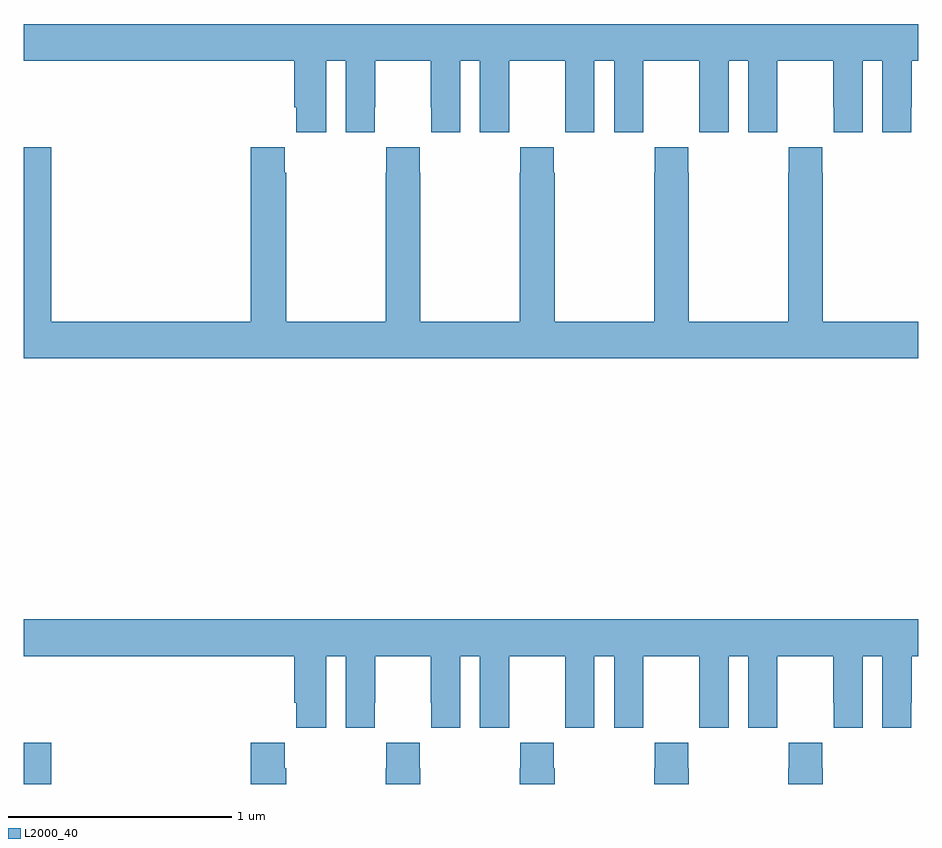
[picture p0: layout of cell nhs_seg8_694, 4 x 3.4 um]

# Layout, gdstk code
import gdstk
lib = gdstk.Library(unit=1e-6, precision=1e-09)
def R(c, l, rs):  # rectangles x0, y0, x1, y1
    for r in rs: c.add(gdstk.rectangle(r[:2], r[2:], *l))
def P(c, l, *ps):  # polygons
    for p in ps: c.add(gdstk.Polygon(p, *l))
L2000_40 = (2000, 40)

nhs_seg8_694 = lib.new_cell('nhs_seg8_694')
R(nhs_seg8_694, L2000_40, [(155,1143.9,155.123,1144.084)])
P(nhs_seg8_694, L2000_40, [(156.352,1147.136),(156.44,1147.136),(156.44,1146.816),(156.57,1146.816),(156.57,1146.928),(156.571,1146.928),(156.571,1147.136),(156.821,1147.136),(156.821,1146.928),(156.822,1146.928),(156.822,1146.816),(156.952,1146.816),(156.952,1147.136),(157.04,1147.136),(157.04,1146.816),(157.17,1146.816),(157.17,1146.928),(157.171,1146.928),(157.171,1147.136),(157.421,1147.136),(157.421,1146.928),(157.422,1146.928),(157.422,1146.816),(157.552,1146.816),(157.552,1147.136),(157.64,1147.136),(157.64,1146.816),(157.77,1146.816),(157.77,1146.928),(157.771,1146.928),(157.771,1147.136),(158.021,1147.136),(158.021,1146.928),(158.022,1146.928),(158.022,1146.816),(158.152,1146.816),(158.152,1147.136),(158.24,1147.136),(158.24,1146.816),(158.37,1146.816),(158.37,1146.928),(158.371,1146.928),(158.371,1147.136),(158.621,1147.136),(158.621,1146.928),(158.622,1146.928),(158.622,1146.816),(158.752,1146.816),(158.752,1147.136),(158.84,1147.136),(158.84,1146.816),(158.97,1146.816),(158.97,1146.928),(158.971,1146.928),(158.971,1147.136),(159,1147.136),(159,1147.3),(155,1147.3),(155,1147.136),(156.209,1147.136),(156.209,1146.928),(156.218,1146.928),(156.218,1146.816),(156.352,1146.816)],
  [(159,1145.968),(158.574,1145.968),(158.574,1146.635),(158.571,1146.635),(158.571,1146.748),(158.421,1146.748),(158.421,1146.635),(158.419,1146.635),(158.419,1145.968),(157.974,1145.968),(157.974,1146.635),(157.971,1146.635),(157.971,1146.748),(157.821,1146.748),(157.821,1146.635),(157.819,1146.635),(157.819,1145.968),(157.374,1145.968),(157.374,1146.635),(157.371,1146.635),(157.371,1146.748),(157.221,1146.748),(157.221,1146.635),(157.219,1146.635),(157.219,1145.968),(156.774,1145.968),(156.774,1146.635),(156.771,1146.635),(156.771,1146.748),(156.621,1146.748),(156.621,1146.635),(156.619,1146.635),(156.619,1145.968),(156.174,1145.968),(156.174,1146.635),(156.167,1146.635),(156.167,1146.748),(156.014,1146.748),(156.014,1145.968),(155.123,1145.968),(155.123,1146.748),(155,1146.748),(155,1145.804),(159,1145.804)],
  [(155,1144.472),(156.209,1144.472),(156.209,1144.264),(156.218,1144.264),(156.218,1144.152),(156.352,1144.152),(156.352,1144.472),(156.44,1144.472),(156.44,1144.152),(156.57,1144.152),(156.57,1144.264),(156.571,1144.264),(156.571,1144.472),(156.821,1144.472),(156.821,1144.264),(156.822,1144.264),(156.822,1144.152),(156.952,1144.152),(156.952,1144.472),(157.04,1144.472),(157.04,1144.152),(157.17,1144.152),(157.17,1144.264),(157.171,1144.264),(157.171,1144.472),(157.421,1144.472),(157.421,1144.264),(157.422,1144.264),(157.422,1144.152),(157.552,1144.152),(157.552,1144.472),(157.64,1144.472),(157.64,1144.152),(157.77,1144.152),(157.77,1144.264),(157.771,1144.264),(157.771,1144.472),(158.021,1144.472),(158.021,1144.264),(158.022,1144.264),(158.022,1144.152),(158.152,1144.152),(158.152,1144.472),(158.24,1144.472),(158.24,1144.152),(158.37,1144.152),(158.37,1144.264),(158.371,1144.264),(158.371,1144.472),(158.621,1144.472),(158.621,1144.264),(158.622,1144.264),(158.622,1144.152),(158.752,1144.152),(158.752,1144.472),(158.84,1144.472),(158.84,1144.152),(158.97,1144.152),(158.97,1144.264),(158.971,1144.264),(158.971,1144.472),(159,1144.472),(159,1144.636),(155,1144.636)],
  [(156.174,1143.971),(156.167,1143.971),(156.167,1144.084),(156.014,1144.084),(156.014,1143.9),(156.174,1143.9)],
  [(158.574,1143.971),(158.571,1143.971),(158.571,1144.084),(158.421,1144.084),(158.421,1143.971),(158.419,1143.971),(158.419,1143.9),(158.574,1143.9)],
  [(157.974,1143.971),(157.971,1143.971),(157.971,1144.084),(157.821,1144.084),(157.821,1143.971),(157.819,1143.971),(157.819,1143.9),(157.974,1143.9)],
  [(157.374,1143.971),(157.371,1143.971),(157.371,1144.084),(157.221,1144.084),(157.221,1143.971),(157.219,1143.971),(157.219,1143.9),(157.374,1143.9)],
  [(156.774,1143.971),(156.771,1143.971),(156.771,1144.084),(156.621,1144.084),(156.621,1143.971),(156.619,1143.971),(156.619,1143.9),(156.774,1143.9)])

lib.write_gds('nhs_seg8_694.gds')
